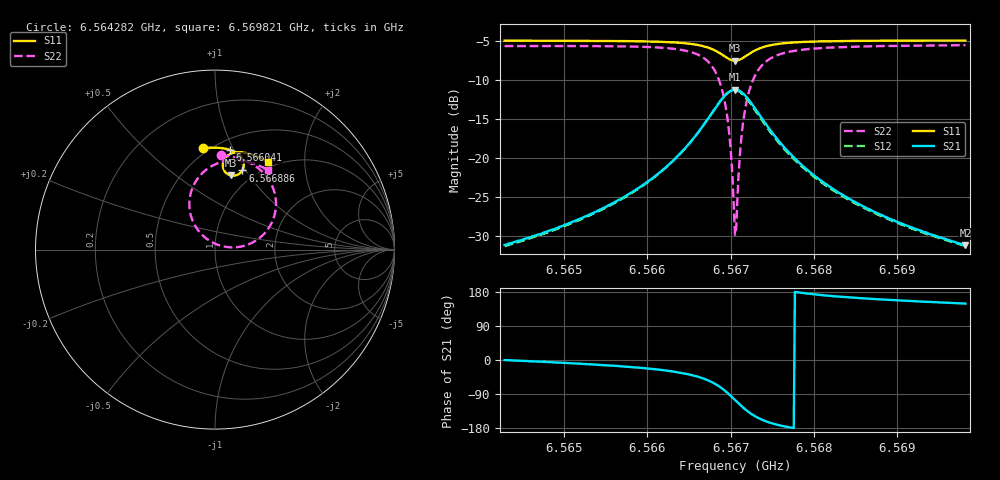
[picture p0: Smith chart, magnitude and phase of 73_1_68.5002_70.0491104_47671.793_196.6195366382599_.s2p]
#  HZ  S  RI  R  50.00
! Rohde & Schwarz Vector Network Analyzer
! Rohde-Schwarz,ZNB20-2Port,1311601062101988,3.16
! Created: UTC 3/20/2024, 5:06:58 PM
! freq[Hz]  re:S11  im:S11  re:S21  im:S21  re:S12  im:S12  re:S22  im:S22
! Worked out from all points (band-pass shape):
!   401 points, 6.564282 GHz to 6.569821 GHz, reference 50 ohm
!   highest |S21| = -11.20 dB at 6.567052 GHz (marker M1); lowest = -31.2 dB at 6.569821 GHz (marker M2)
!   |S21| within 3 dB of the highest: 6.566776 GHz to 6.56733 GHz (554.3 kHz wide, 0.00844 % of centre)
!   lowest |S11| = -7.5 dB at 6.567052 GHz (marker M3), VSWR 2.46, Z = 41.1 + j41.3 ohm
!   |S11| at or under -10 dB: nowhere
!   |S22| runs from -29.9 to -5.5 dB; largest |S21 - S12| = 0.013
!   S11 on the Smith chart (normalised r, x): 6.564282 GHz: 0.46, +0.77; 6.566041 GHz: 0.60, +0.97; 6.566886 GHz: 0.86, +0.97; 6.569821 GHz: 0.92, +1.33
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6.5642824e9  -0.0685 0.565  0.0275 -2.93e-05  0.027 -0.000613  0.0308 0.5244
6.5652102e9  0.00714 0.5678  0.0404 -0.00711  0.0396 -0.00775  0.1177 0.5119
6.566041e9  0.0838 0.5557  0.0668 -0.0288  0.0659 -0.0295  0.2229 0.4665
6.5661379e9  0.0938 0.5521  0.0721 -0.0344  0.071 -0.0353  0.2392 0.4549
6.5664425e9  0.1286 0.5332  0.0927 -0.0663  0.0914 -0.0675  0.2977 0.3923
6.5666503e9  0.1525 0.5054  0.106 -0.1147  0.1038 -0.1167  0.3357 0.2989
6.5667887e9  0.1608 0.472  0.0995 -0.1728  0.0952 -0.1759  0.3305 0.1876
6.5668856e9  0.1523 0.4411  0.0676 -0.2259  0.0602 -0.2288  0.2739 0.0883
6.5669687e9  0.1275 0.4179  0.00832 -0.2634  -0.00225 -0.2634  0.1655 0.0218
6.5669964e9  0.1156 0.4134  -0.0178 -0.2692  -0.029 -0.2675  0.1184 0.013
6.567038e9  0.0961 0.412  -0.0596 -0.2684  -0.071 -0.2638  0.0441 0.0184
6.5670518e9  0.0895 0.4129  -0.0734 -0.2653  -0.0846 -0.2596  0.0199 0.025
6.5670657e9  0.083 0.4148  -0.0871 -0.2609  -0.0977 -0.2543  -0.0033 0.0345
6.5670795e9  0.0769 0.4172  -0.1 -0.2552  -0.1102 -0.2477  -0.0254 0.0462
6.567121e9  0.0609 0.4283  -0.1338 -0.2314  -0.1419 -0.2218  -0.0813 0.0921
6.5671626e9  0.0498 0.443  -0.158 -0.2015  -0.1635 -0.1906  -0.1188 0.1479
6.567218e9  0.0434 0.4645  -0.1749 -0.1592  -0.1771 -0.1485  -0.1413 0.2237
6.5672872e9  0.0455 0.4884  -0.1777 -0.1124  -0.177 -0.1033  -0.1374 0.3052
6.5675364e9  0.0839 0.5323  -0.1346 -0.0248  -0.1318 -0.0209  -0.0399 0.4515
6.5679795e9  0.1447 0.5423  -0.0784 0.00845  -0.0767 0.0096  0.0891 0.4972
6.5689073e9  0.2301 0.5207  -0.0378 0.0148  -0.0371 0.0151  0.2189 0.4786
6.5698212e9  0.2969 0.4874  -0.0234 0.0142  -0.023 0.0143  0.2975 0.4412
